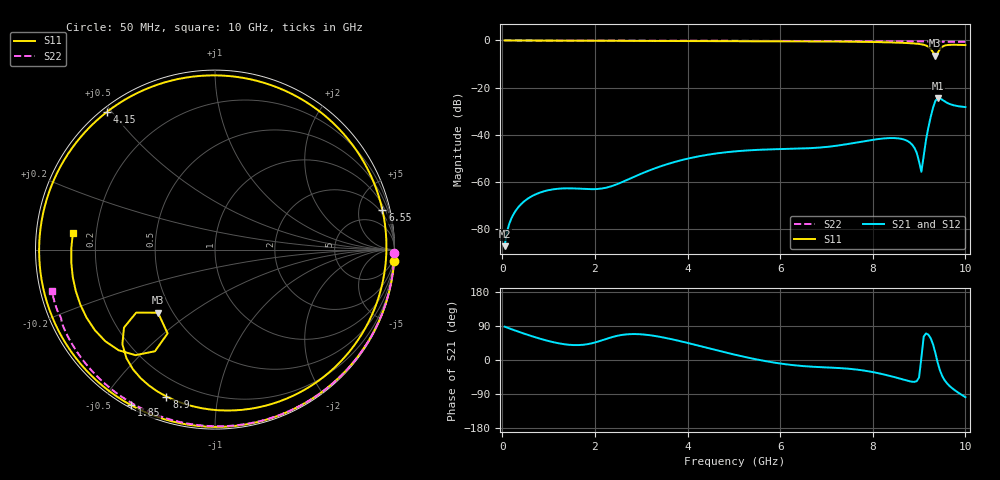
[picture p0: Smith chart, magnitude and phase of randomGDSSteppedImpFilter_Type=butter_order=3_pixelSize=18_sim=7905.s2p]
! freq	dB(S11)	phase(S11)	dB(S12)	phase(S12)
!  dB(S21)	phase(S21)	dB(S22)	phase(S22)
!S-par simulation data
#  GHz  S  DB  R 50
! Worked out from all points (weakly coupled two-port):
!   200 points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, 50 MHz to 10 GHz, reference 50 ohm
!   highest |S21| = -24.48 dB at 9.4 GHz (marker M1); lowest = -87.3 dB at 50 MHz (marker M2)
!   lowest |S11| = -6.5 dB at 9.35 GHz (marker M3), VSWR 2.80, Z = 20.8 - j18.9 ohm
!   |S11| at or under -10 dB: nowhere
!   |S22| runs from -0.6 to 0.0 dB; largest |S21 - S12| = 0
!   S11 on the Smith chart (normalised r, x): 50 MHz: 0, -33; 1.85 GHz: 0.01, -0.60; 4.15 GHz: 0.02, +0.49; 6.55 GHz: 1.55, +8.35; 8.9 GHz: 0.11, -0.72; 10 GHz: 0.11, +0.06
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0.05  -0.00 -3.5  -87.34 88.0  -87.34 88.0  -0.00 -1.0
0.35  -0.03 -24.4  -70.70 74.7  -70.70 74.7  -0.01 -6.7
0.65  -0.06 -44.8  -65.99 62.4  -65.99 62.4  -0.02 -12.4
1.2  -0.10 -80.3  -62.96 44.5  -62.96 44.5  -0.03 -22.7
1.75  -0.13 -112.7  -63.03 40.2  -63.03 40.2  -0.04 -33.0
1.85  -0.13 -118.3  -63.12 41.9  -63.12 41.9  -0.04 -34.8
2.65  -0.16 -160.2  -59.60 67.3  -59.60 67.3  -0.06 -49.3
3.4  -0.19 163.5  -53.56 61.2  -53.56 61.2  -0.08 -62.4
4.15  -0.22 128.1  -49.55 40.5  -49.55 40.5  -0.11 -75.2
5.05  -0.26 85.4  -47.04 13.2  -47.04 13.2  -0.14 -90.0
5.75  -0.31 51.7  -46.27 -4.4  -46.27 -4.4  -0.17 -101.1
6.55  -0.37 13.2  -45.82 -16.6  -45.82 -16.6  -0.22 -113.4
6.7  -0.38 6.0  -45.68 -17.8  -45.68 -17.8  -0.23 -115.7
7.5  -0.51 -32.3  -43.84 -23.3  -43.84 -23.3  -0.29 -127.9
8.35  -0.81 -75.0  -41.45 -41.4  -41.45 -41.4  -0.36 -140.7
8.9  -1.29 -108.3  -45.60 -57.6  -45.60 -57.6  -0.42 -149.1
9.05  -1.64 -120.0  -55.77 6.7  -55.77 6.7  -0.44 -151.4
9.2  -2.65 -134.4  -36.99 66.9  -36.99 66.9  -0.48 -153.8
9.35  -6.49 -132.1  -25.74 19.3  -25.74 19.3  -0.55 -156.0
9.4  -5.41 -119.5  -24.48 -6.1  -24.48 -6.1  -0.55 -156.5
9.55  -2.20 -133.8  -25.86 -53.1  -25.86 -53.1  -0.53 -158.7
10  -1.97 173.4  -28.28 -98.2  -28.28 -98.2  -0.56 -165.9
